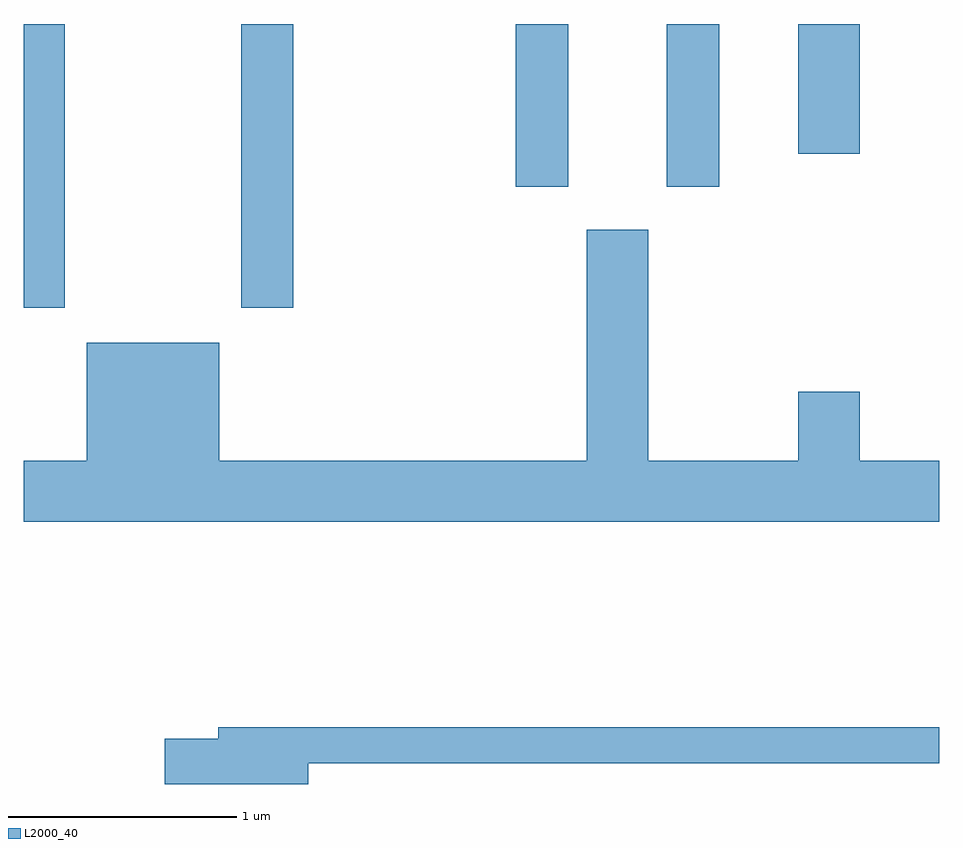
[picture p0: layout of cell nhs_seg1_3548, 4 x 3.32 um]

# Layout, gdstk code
import gdstk
lib = gdstk.Library(unit=1e-6, precision=1e-09)
def R(c, l, rs):  # rectangles x0, y0, x1, y1
    for r in rs: c.add(gdstk.rectangle(r[:2], r[2:], *l))
def P(c, l, *ps):  # polygons
    for p in ps: c.add(gdstk.Polygon(p, *l))
L2000_40 = (2000, 40)

nhs_seg1_3548 = lib.new_cell('nhs_seg1_3548')
R(nhs_seg1_3548, L2000_40, [(291.611,940.471,291.789,941.712), (292.561,940.471,292.789,941.712), (293.761,941.001,293.989,941.712), (294.421,941.001,294.649,941.712), (294.996,941.146,295.264,941.712)])
P(nhs_seg1_3548, L2000_40, [(295.611,939.804),(295.264,939.804),(295.264,940.104),(294.996,940.104),(294.996,939.804),(294.339,939.804),(294.339,940.814),(294.071,940.814),(294.071,939.804),(292.464,939.804),(292.464,940.319),(291.886,940.319),(291.886,939.804),(291.611,939.804),(291.611,939.536),(295.611,939.536)],
  [(292.854,938.481),(295.611,938.481),(295.611,938.639),(292.461,938.639),(292.461,938.589),(292.226,938.589),(292.226,938.391),(292.854,938.391)])

lib.write_gds('nhs_seg1_3548.gds')
